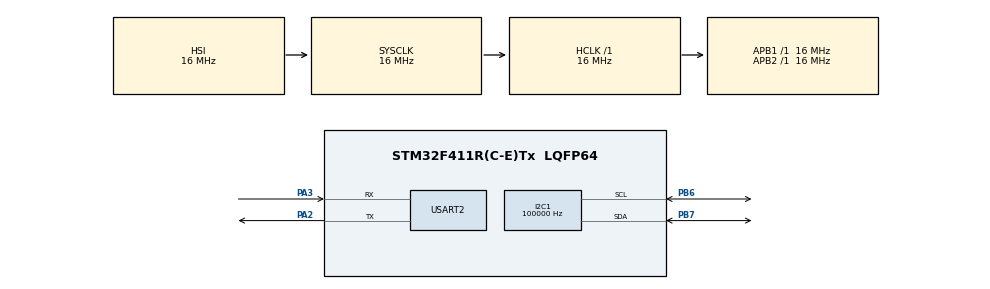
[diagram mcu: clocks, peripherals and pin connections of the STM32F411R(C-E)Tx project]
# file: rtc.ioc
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I2C1.ClockSpeed=100000
Mcu.Family=STM32F4
Mcu.Name=STM32F411R(C-E)Tx
Mcu.Package=LQFP64
NVIC.PriorityGroup=NVIC_PRIORITYGROUP_4
NVIC.USART2_IRQn=true\:0\:0\:false\:false\:true\:true\:true\:true
PA2.Mode=Asynchronous
PA2.Signal=USART2_TX
PA3.Mode=Asynchronous
PA3.Signal=USART2_RX
PB6.GPIO_Pu=GPIO_PULLUP
PB6.Mode=I2C
PB6.Signal=I2C1_SCL
PB7.GPIO_Pu=GPIO_PULLUP
PB7.Mode=I2C
PB7.Signal=I2C1_SDA
ProjectManager.HeapSize=0x200
ProjectManager.StackSize=0x400
ProjectManager.TargetToolchain=STM32CubeIDE
RCC.AHBFreq_Value=16000000
RCC.APB1Freq_Value=16000000
RCC.APB2Freq_Value=16000000
RCC.CortexFreq_Value=16000000
RCC.HSE_VALUE=25000000
RCC.HSI_VALUE=16000000
RCC.LSE_VALUE=32768
RCC.SYSCLKFreq_VALUE=16000000
RCC.VCOOutputFreq_Value=192000000
USART2.VirtualMode=VM_ASYNC
board=custom

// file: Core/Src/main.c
/* USER CODE BEGIN Header */
/**
 ******************************************************************************
 * @file           : main.c
 * @brief          : Main program body
 ******************************************************************************
 * @attention
 *
 * Copyright (c) 2024 STMicroelectronics.
 * All rights reserved.
 *
 * This software is licensed under terms that can be found in the LICENSE file
 * in the root directory of this software component.
 * If no LICENSE file comes with this software, it is provided AS-IS.
 *
 ******************************************************************************
 */
/* USER CODE END Header */
#include "main.h"

/* USER CODE BEGIN Includes */
#include	"uart.h"
/* USER CODE END Includes */

I2C_HandleTypeDef hi2c1;

UART_HandleTypeDef huart2;

/* USER CODE BEGIN PV */
typedef struct {
	uint8_t year;
	uint8_t month;
	uint8_t date;
	uint8_t day;
	uint8_t hour;
	uint8_t min;
	uint8_t sec;
} DateTime_t;
/* USER CODE END PV */

void SystemClock_Config(void);
static void MX_GPIO_Init(void);
static void MX_I2C1_Init(void);
static void MX_USART2_UART_Init(void);

/* USER CODE BEGIN 0 */
uint8_t BCD2Decimal(uint8_t inData) {
	uint8_t upper = inData >> 4;
	uint8_t lower = inData & 0x0f;
	return upper * 10 + lower;
}

uint8_t Decimal2BCD(uint8_t inData) {
	uint8_t upper = inData / 10;
	uint8_t lower = inData % 10;
	return upper << 4 | lower;
}

#define RTC_ADD 0XD0
#define ROM_ADD 0XA0
#define MagicNumber	0x321fad16 //반드시 8개여야한다.
#define READ 1

//EEPROM map table
#define		eeMagicNumberBase		0
#define		eeMagicNumberSize		4

void setRTC(DateTime_t inData) {
	uint8_t txBuffer[7];
	txBuffer[7] = Decimal2BCD(inData.year);
	txBuffer[6] = Decimal2BCD(inData.month);
	txBuffer[5] = Decimal2BCD(inData.date);
	txBuffer[3] = Decimal2BCD(inData.hour);
	txBuffer[2] = Decimal2BCD(inData.min);
	txBuffer[1] = Decimal2BCD(inData.sec);
	txBuffer[0] = 0;
	HAL_I2C_Master_Transmit(&hi2c1, RTC_ADD, txBuffer, sizeof(txBuffer), 10);
}

DateTime_t getRTC() {
	DateTime_t result;
	uint8_t rxBuffer[7];
	uint8_t address = 0;
	HAL_I2C_Master_Transmit(&hi2c1, RTC_ADD, &address, 1, 10);
	HAL_I2C_Master_Receive(&hi2c1, RTC_ADD | READ, rxBuffer, 7, 10);
	result.year = BCD2Decimal(rxBuffer[6]);
	result.month = BCD2Decimal(rxBuffer[5]);
	result.date = BCD2Decimal(rxBuffer[4]);
	result.day = BCD2Decimal(rxBuffer[3]);
	result.hour = BCD2Decimal(rxBuffer[2]);
	result.min = BCD2Decimal(rxBuffer[1]);
	result.sec = BCD2Decimal(rxBuffer[0]);
	return result;
}

//address = 0 ~ 0x37
void writeRAM(uint8_t address, uint8_t data){
	HAL_I2C_Mem_Write(&hi2c1, RTC_ADD, address, 1, &data, 1, 10);
}

uint8_t readRAM(uint8_t address){
	uint8_t result;
	HAL_I2C_Mem_Read(&hi2c1, RTC_ADD, address, 1, &result, 1, 10);
	return result;
}

void writeEEPROM(uint16_t address, uint8_t data){
	HAL_I2C_Mem_Write(&hi2c1, ROM_ADD, address, 2, &data, 1, 10);
	HAL_Delay(5);
}
uint8_t readEEPROM(uint16_t address){
	uint8_t result;
	HAL_I2C_Mem_Write(&hi2c1, ROM_ADD, address, 2, &result, 1, 10);
	return result;
}

void write2ByteEEPROM(uint16_t address, uint16_t data){
	HAL_I2C_Mem_Write(&hi2c1, ROM_ADD, address, 2, &data, 2, 10);
	HAL_Delay(10);

}

uint16_t read2ByteEEPROM(uint16_t address){
	uint16_t result;
	HAL_I2C_Mem_Read(&hi2c1, ROM_ADD, address, 2, &result, 2, 10);
	return result;

}

void write4ByteEEPROM(uint16_t address, uint32_t data){
	HAL_I2C_Mem_Write(&hi2c1, ROM_ADD, address, 2, &data, 4, 10);
	HAL_Delay(20);
}

uint32_t read4ByteEEPROM(uint16_t address){
	uint32_t result;
	HAL_I2C_Mem_Read(&hi2c1, ROM_ADD, address, 2, &result, 4, 10);
	return result;

}
/* USER CODE END 0 */

int main(void) {

	/* MCU Configuration--------------------------------------------------------*/

	/* Reset of all peripherals, Initializes the Flash interface and the Systick. */
	HAL_Init();

	/* Configure the system clock */
	SystemClock_Config();

	/* Initialize all configured peripherals */
	MX_GPIO_Init();
	MX_I2C1_Init();
	MX_USART2_UART_Init();
	/* USER CODE BEGIN 2 */
	DateTime_t dateTime;
	initUart(&huart2);
	if(MagicNumber != read4ByteEEPROM(eeMagicNumberBase)){
		//initial setting
		dateTime.year = 24;
		dateTime.month = 3;
		dateTime.date = 29;
		dateTime.hour = 14;
		dateTime.min = 32;
		dateTime.sec = 0;
		setRTC(dateTime);
		// number recording
		write4ByteEEPROM(eeMagicNumberBase, MagicNumber);
	}
	/* USER CODE END 2 */

	/* Infinite loop */
	/* USER CODE BEGIN WHILE */
	/*printf("i2c scan start\n");
	 for (int address = 0; address < 256; address++){
	 if(HAL_I2C_IsDeviceReady(&hi2c1, address, 0, 10) == HAL_OK){
	 printf("%02x is ready\n", address);
	 }
	 }
	 printf("i2c scan end\n");*/

//	uint8_t address = 0;
//	uint8_t buffer[0x40] = { 0, };
//	HAL_I2C_Master_Transmit(&hi2c1, 0xd0, &address, 1, 10);
//	HAL_I2C_Master_Receive(&hi2c1, 0xd1, buffer, 1, 10);
//	buffer[1] = buffer[0] & 0x7f; //MSB 1bit를
//	buffer[0] = 0;
//	HAL_I2C_Master_Transmit(&hi2c1, 0xd0, buffer, 2, 10);

	while (1) {
			dateTime = getRTC();
			printf("20%02d-%02d-%02d %02d:%02d:%02d\n",
					dateTime.year,
					dateTime.month,
					dateTime.date,
					dateTime.hour,
					dateTime.min,
					dateTime.sec);

//		buffer[0] = 0;
//		HAL_I2C_Master_Transmit(&hi2c1, 0xd0, buffer, 1, 10); // 주소?��?�� 2바이?�� ?��?��
//		HAL_I2C_Master_Receive(&hi2c1, 0xd1, buffer, 0x40, 100);
//		printf("\n20%02d-%02d-%02d %02d:%02d:%02d\n", BCD2Decimal(buffer[6]),
//				BCD2Decimal(buffer[5]), BCD2Decimal(buffer[4]), BCD2Decimal(buffer[2]),
//				BCD2Decimal(buffer[1]), BCD2Decimal(buffer[0]));
		HAL_Delay(1000);

		/* USER CODE END WHILE */

	}
}

void SystemClock_Config(void) {
	RCC_OscInitTypeDef RCC_OscInitStruct = { 0 };
	RCC_ClkInitTypeDef RCC_ClkInitStruct = { 0 };

	/** Configure the main internal regulator output voltage
	 */
	__HAL_RCC_PWR_CLK_ENABLE();
	__HAL_PWR_VOLTAGESCALING_CONFIG(PWR_REGULATOR_VOLTAGE_SCALE1);

	/** Initializes the RCC Oscillators according to the specified parameters
	 * in the RCC_OscInitTypeDef structure.
	 */
	RCC_OscInitStruct.OscillatorType = RCC_OSCILLATORTYPE_HSI;
	RCC_OscInitStruct.HSIState = RCC_HSI_ON;
	RCC_OscInitStruct.HSICalibrationValue = RCC_HSICALIBRATION_DEFAULT;
	RCC_OscInitStruct.PLL.PLLState = RCC_PLL_NONE;
	if (HAL_RCC_OscConfig(&RCC_OscInitStruct) != HAL_OK) {
		Error_Handler();
	}

	/** Initializes the CPU, AHB and APB buses clocks
	 */
	RCC_ClkInitStruct.ClockType = RCC_CLOCKTYPE_HCLK | RCC_CLOCKTYPE_SYSCLK
			| RCC_CLOCKTYPE_PCLK1 | RCC_CLOCKTYPE_PCLK2;
	RCC_ClkInitStruct.SYSCLKSource = RCC_SYSCLKSOURCE_HSI;
	RCC_ClkInitStruct.AHBCLKDivider = RCC_SYSCLK_DIV1;
	RCC_ClkInitStruct.APB1CLKDivider = RCC_HCLK_DIV1;
	RCC_ClkInitStruct.APB2CLKDivider = RCC_HCLK_DIV1;

	if (HAL_RCC_ClockConfig(&RCC_ClkInitStruct, FLASH_LATENCY_0) != HAL_OK) {
		Error_Handler();
	}
}

static void MX_I2C1_Init(void) {

	hi2c1.Instance = I2C1;
	hi2c1.Init.ClockSpeed = 100000;
	hi2c1.Init.DutyCycle = I2C_DUTYCYCLE_2;
	hi2c1.Init.OwnAddress1 = 0;
	hi2c1.Init.AddressingMode = I2C_ADDRESSINGMODE_7BIT;
	hi2c1.Init.DualAddressMode = I2C_DUALADDRESS_DISABLE;
	hi2c1.Init.OwnAddress2 = 0;
	hi2c1.Init.GeneralCallMode = I2C_GENERALCALL_DISABLE;
	hi2c1.Init.NoStretchMode = I2C_NOSTRETCH_DISABLE;
	if (HAL_I2C_Init(&hi2c1) != HAL_OK) {
		Error_Handler();
	}

}

static void MX_USART2_UART_Init(void) {

	huart2.Instance = USART2;
	huart2.Init.BaudRate = 115200;
	huart2.Init.WordLength = UART_WORDLENGTH_8B;
	huart2.Init.StopBits = UART_STOPBITS_1;
	huart2.Init.Parity = UART_PARITY_NONE;
	huart2.Init.Mode = UART_MODE_TX_RX;
	huart2.Init.HwFlowCtl = UART_HWCONTROL_NONE;
	huart2.Init.OverSampling = UART_OVERSAMPLING_16;
	if (HAL_UART_Init(&huart2) != HAL_OK) {
		Error_Handler();
	}

}

static void MX_GPIO_Init(void) {

	/* GPIO Ports Clock Enable */
	__HAL_RCC_GPIOA_CLK_ENABLE();
	__HAL_RCC_GPIOB_CLK_ENABLE();

}

void Error_Handler(void) {
	__disable_irq();
	while (1) {
	}
}
